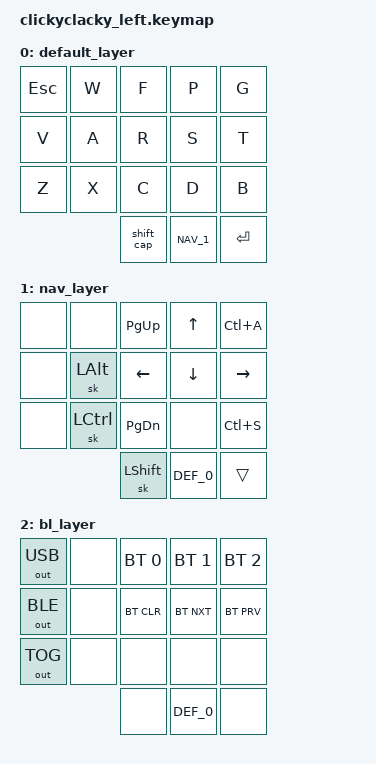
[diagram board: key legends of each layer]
#include <behaviors.dtsi>
#include <dt-bindings/zmk/keys.h>
#include <dt-bindings/zmk/bt.h>
#include <dt-bindings/zmk/outputs.h>

#define DEF_0 0
#define NAV_1 1
#define BLU_2 2

#define COMBO_HOLD_TIME_MS 50

/ {
    
    combos {
       compatible = "zmk,combos";
       combo_threef {
           timeout-ms = <COMBO_HOLD_TIME_MS>;
           key-positions = < 15 16 17>;
           bindings = <&kp LC(LA(DEL))>;
       };
       combo_blue {
           timeout-ms = <COMBO_HOLD_TIME_MS>;
           key-positions = < 9 14>;
           bindings = <&kp BLU_2>;
       };
    };

    behaviors {
        shift_cap: shift_cap {
            compatible = "zmk,behavior-tap-dance";
            label = "SHIFT_CAPS";
            #binding-cells = <0>;
            tapping-term-ms = <200>;
            bindings = <&sk N1>, <&kp CAPS>;
        };
    };

    keymap {
        compatible = "zmk,keymap";

        default_layer {
            bindings = <
                &kp ESC     &kp W       &kp F       &kp P       &kp G          
                &kp V       &kp A       &kp R       &kp S       &kp T          
                &kp Z       &kp X       &kp C       &kp D       &kp B          
                                        &shift_cap  &kp NAV_1   &kp RET   
            >;
        };

        nav_layer {
            bindings = <
                &none       &none       &kp PG_UP    &kp UP     &kp LC(A)        
                &none       &sk LALT    &kp LEFT     &kp DOWN   &kp RIGHT        
                &none       &sk LCTRL   &kp PG_DN    &none      &kp LC(S)        
                                        &sk LSHFT    &kp DEF_0  &trans    
            >;
        };

        bl_layer {
            bindings = <
                &out OUT_USB &none    &bt BT_SEL 0    &bt BT_SEL 1    &bt BT_SEL 2            
                &out OUT_BLE &none    &bt BT_CLR      &bt BT_NXT      &bt BT_PRV              
                &out OUT_TOG &none    &none           &none           &none        
                                            &none           &kp DEF_0       &none    
            >;
        };
    };
};

